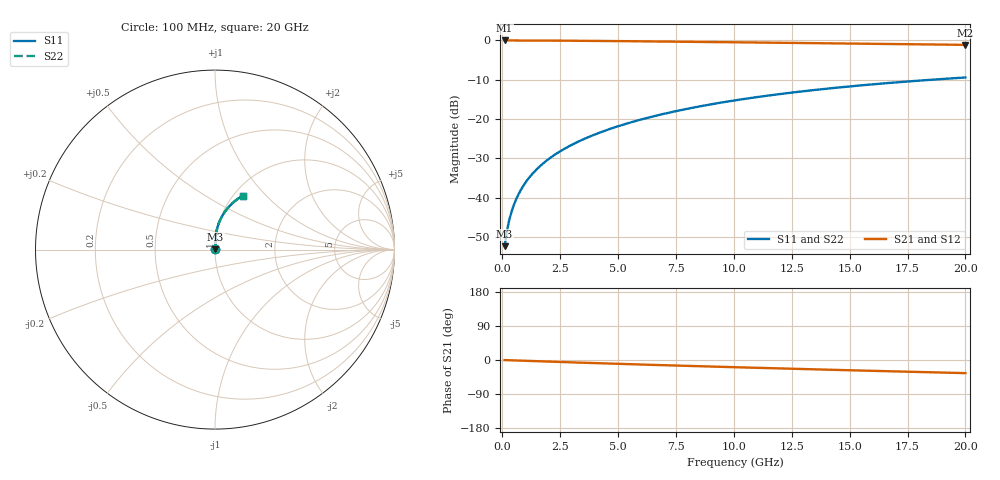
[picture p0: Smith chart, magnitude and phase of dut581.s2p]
! Touchstone file exported from HFSS 2024.1.0
!  File:  C:/UserFiles/LocalFiles/RDL_TSV_Batchsim/temp_RDL_top_581_1779682101.aedt
!  Generated:  12:10:46 PM May 25, 2026
!  Design:  RDL_top
!  Project:  temp_RDL_top_581_1779682101
!  Setup:  Setup1
!  Solution:  Sweep
! Variables:
!  dtsv = 10.80580581um
!  hbump = 3um
!  htsv = 72.78um
!  ldown = 100um
!  lrdl = 459.29um
!  p = 40
!  p1 = 59.2um
!  rhole = 1um
!  t = 450um
!  tdown = 3.915915916um
!  trdl = 4.27um
!  wdown = 15.38538539um
!  wrdl = 24.37um
# GHz S MA R 50.000000
! Terminal data exported
! Port[1] = Box2_T1
! Port[2] = Box2_T2
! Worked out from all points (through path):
!   200 points, 100 MHz to 20 GHz, reference 50 ohm
!   highest |S21| = -0.02 dB at 100 MHz (marker M1); lowest = -1.1 dB at 20 GHz (marker M2)
!   group delay of S21, straight-line fit = 4.76 ps
!   lowest |S11| = -52.3 dB at 100 MHz (marker M3), VSWR 1.00, Z = 50.2 + j0.167 ohm
!   |S11| at or under -10 dB: start of sweep to 18.54 GHz
!   |S22| runs from -52.3 to -9.4 dB; largest |S21 - S12| = 2.7e-15
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0.1  0.00242 43.6  0.9982 -0.2  0.9982 -0.2  0.00242 43.6
! Gamma 0 0 0 0
! Port Impedance 50 0 50 0
0.2  0.003761 60.5  0.9981 -0.4  0.9981 -0.4  0.003761 60.5
0.3  0.005196 68.0  0.998 -0.6  0.998 -0.6  0.005196 68.0
0.4  0.006646 72.3  0.9978 -0.9  0.9978 -0.9  0.006646 72.3
0.5  0.008106 75.2  0.9977 -1.1  0.9977 -1.1  0.008106 75.2
0.6  0.009577 77.4  0.9976 -1.3  0.9976 -1.3  0.009577 77.4
0.8  0.01255 80.2  0.9973 -1.7  0.9973 -1.7  0.01255 80.2
1.1  0.01707 82.7  0.9967 -2.3  0.9967 -2.3  0.01707 82.7
1.5  0.0232 84.6  0.9958 -3.2  0.9958 -3.2  0.0232 84.6
1.8  0.02785 85.5  0.995 -3.8  0.995 -3.8  0.02785 85.5
2.1  0.03256 86.1  0.994 -4.4  0.994 -4.4  0.03256 86.1
2.7  0.04214 86.7  0.9917 -5.6  0.9917 -5.6  0.04214 86.7
3.5  0.05527 87.0  0.9879 -7.2  0.9879 -7.2  0.05527 87.0
4.2  0.06709 86.9  0.9842 -8.6  0.9842 -8.6  0.06709 86.9
5  0.08096 86.4  0.9795 -10.1  0.9795 -10.1  0.08096 86.4
6.8  0.1132 84.6  0.9681 -13.4  0.9681 -13.4  0.1132 84.6
8.4  0.1426 82.3  0.9575 -16.2  0.9575 -16.2  0.1426 82.3
10.1  0.1738 79.5  0.946 -19.1  0.946 -19.1  0.1738 79.5
11.7  0.2028 76.8  0.9351 -21.8  0.9351 -21.8  0.2027 76.8
13.4  0.2327 73.8  0.9235 -24.5  0.9235 -24.5  0.2327 73.8
16.7  0.2876 68.2  0.9006 -29.7  0.9006 -29.7  0.2876 68.2
20  0.3377 62.8  0.8774 -34.6  0.8774 -34.6  0.3376 62.8
